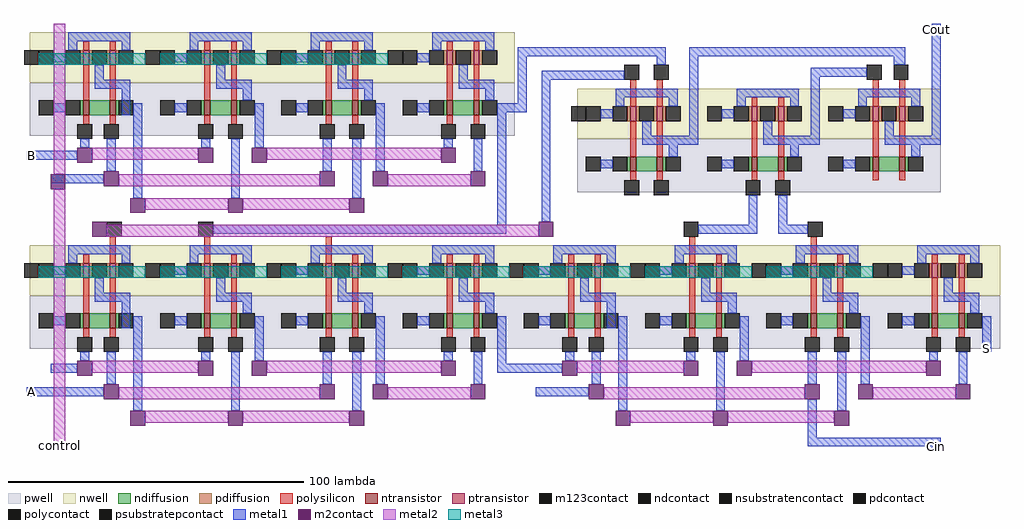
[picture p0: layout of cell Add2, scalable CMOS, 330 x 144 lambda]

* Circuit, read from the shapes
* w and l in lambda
.subckt Add2 A B Cin Cout GND! S Vdd! control
M1 n1 XOR2_0/a GND! GND! nfet w=5 l=2
M2 n2 B GND! GND! nfet w=5 l=2
M3 XOR2_0/NAND2_1/b A n1 GND! nfet w=5 l=2
M4 XOR2_2/NAND2_1/b control n2 GND! nfet w=5 l=2
M5 n3 XOR2_0/a GND! GND! nfet w=5 l=2
M6 n4 B GND! GND! nfet w=5 l=2
M7 XOR2_0/NAND2_3/a XOR2_0/NAND2_1/b n3 GND! nfet w=5 l=2
M8 XOR2_2/NAND2_3/a XOR2_2/NAND2_1/b n4 GND! nfet w=5 l=2
M9 n5 A GND! GND! nfet w=5 l=2
M10 n6 control GND! GND! nfet w=5 l=2
M11 XOR2_0/NAND2_3/b XOR2_0/NAND2_1/b n5 GND! nfet w=5 l=2
M12 XOR2_2/NAND2_3/b XOR2_2/NAND2_1/b n6 GND! nfet w=5 l=2
M13 n7 XOR2_0/NAND2_3/a GND! GND! nfet w=5 l=2
M14 n8 XOR2_2/NAND2_3/a GND! GND! nfet w=5 l=2
M15 NAND2_1/a XOR2_0/NAND2_3/b n7 GND! nfet w=5 l=2
M16 XOR2_0/a XOR2_2/NAND2_3/b n8 GND! nfet w=5 l=2
M17 n9 NAND2_1/a GND! GND! nfet w=5 l=2
M18 XOR2_1/NAND2_1/b Cin n9 GND! nfet w=5 l=2
M19 n10 A GND! GND! nfet w=5 l=2
M20 NAND2_2/b XOR2_0/a n10 GND! nfet w=5 l=2
M21 n11 NAND2_1/a GND! GND! nfet w=5 l=2
M22 XOR2_1/NAND2_3/a XOR2_1/NAND2_1/b n11 GND! nfet w=5 l=2
M23 n12 NAND2_1/a GND! GND! nfet w=5 l=2
M24 NAND2_2/a Cin n12 GND! nfet w=5 l=2
M25 n13 Cin GND! GND! nfet w=5 l=2
M26 XOR2_1/NAND2_3/b XOR2_1/NAND2_1/b n13 GND! nfet w=5 l=2
M27 n14 NAND2_2/a GND! GND! nfet w=5 l=2
M28 Cout NAND2_2/b n14 GND! nfet w=5 l=2
M29 n15 XOR2_1/NAND2_3/a GND! GND! nfet w=5 l=2
M30 S XOR2_1/NAND2_3/b n15 GND! nfet w=5 l=2
M31 XOR2_0/NAND2_1/b XOR2_0/a Vdd! Vdd! pfet w=5 l=2
M32 XOR2_2/NAND2_1/b B Vdd! Vdd! pfet w=5 l=2
M33 Vdd! A XOR2_0/NAND2_1/b Vdd! pfet w=5 l=2
M34 Vdd! control XOR2_2/NAND2_1/b Vdd! pfet w=5 l=2
M35 XOR2_0/NAND2_3/a XOR2_0/a Vdd! Vdd! pfet w=5 l=2
M36 XOR2_2/NAND2_3/a B Vdd! Vdd! pfet w=5 l=2
M37 Vdd! XOR2_0/NAND2_1/b XOR2_0/NAND2_3/a Vdd! pfet w=5 l=2
M38 Vdd! XOR2_2/NAND2_1/b XOR2_2/NAND2_3/a Vdd! pfet w=5 l=2
M39 XOR2_0/NAND2_3/b A Vdd! Vdd! pfet w=5 l=2
M40 XOR2_2/NAND2_3/b control Vdd! Vdd! pfet w=5 l=2
M41 Vdd! XOR2_0/NAND2_1/b XOR2_0/NAND2_3/b Vdd! pfet w=5 l=2
M42 Vdd! XOR2_2/NAND2_1/b XOR2_2/NAND2_3/b Vdd! pfet w=5 l=2
M43 NAND2_1/a XOR2_0/NAND2_3/a Vdd! Vdd! pfet w=5 l=2
M44 XOR2_0/a XOR2_2/NAND2_3/a Vdd! Vdd! pfet w=5 l=2
M45 Vdd! XOR2_0/NAND2_3/b NAND2_1/a Vdd! pfet w=5 l=2
M46 Vdd! XOR2_2/NAND2_3/b XOR2_0/a Vdd! pfet w=5 l=2
M47 XOR2_1/NAND2_1/b NAND2_1/a Vdd! Vdd! pfet w=5 l=2
M48 Vdd! Cin XOR2_1/NAND2_1/b Vdd! pfet w=5 l=2
M49 NAND2_2/b A Vdd! Vdd! pfet w=5 l=2
M50 Vdd! XOR2_0/a NAND2_2/b Vdd! pfet w=5 l=2
M51 XOR2_1/NAND2_3/a NAND2_1/a Vdd! Vdd! pfet w=5 l=2
M52 Vdd! XOR2_1/NAND2_1/b XOR2_1/NAND2_3/a Vdd! pfet w=5 l=2
M53 NAND2_2/a NAND2_1/a Vdd! Vdd! pfet w=5 l=2
M54 Vdd! Cin NAND2_2/a Vdd! pfet w=5 l=2
M55 XOR2_1/NAND2_3/b Cin Vdd! Vdd! pfet w=5 l=2
M56 Vdd! XOR2_1/NAND2_1/b XOR2_1/NAND2_3/b Vdd! pfet w=5 l=2
M57 Cout NAND2_2/a Vdd! Vdd! pfet w=5 l=2
M58 Vdd! NAND2_2/b Cout Vdd! pfet w=5 l=2
M59 S XOR2_1/NAND2_3/a Vdd! Vdd! pfet w=5 l=2
M60 Vdd! XOR2_1/NAND2_3/b S Vdd! pfet w=5 l=2
.ends

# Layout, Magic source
magic
tech scmos
<< polysilicon >>
rect 203 109 205 117
rect 212 109 214 117
rect 285 109 287 117
rect 294 109 296 117
rect 27 56 29 64
rect 59 56 61 64
rect 100 56 102 64
rect 223 55 225 64
rect 264 56 266 64
<< polycontact >>
rect 201 117 206 122
rect 211 117 216 122
rect 283 117 288 122
rect 292 117 297 122
rect 201 78 206 83
rect 211 78 216 83
rect 242 78 247 83
rect 252 78 257 83
rect 26 64 31 69
rect 57 64 62 69
rect 221 64 226 69
rect 263 64 268 69
<< metal1 >>
rect 165 125 215 128
rect 165 109 168 125
rect 212 122 215 125
rect 223 125 296 128
rect 158 106 168 109
rect 173 117 201 120
rect -1 90 10 93
rect 158 68 161 99
rect 173 69 176 117
rect 223 98 226 125
rect 292 122 296 125
rect 264 118 283 121
rect 264 98 267 118
rect 305 98 308 136
rect 216 95 226 98
rect 257 95 267 98
rect 298 95 308 98
rect 62 65 161 68
rect 243 68 246 78
rect 226 65 246 68
rect 253 68 256 78
rect 253 65 263 68
rect 158 21 161 28
rect 322 25 325 27
rect 158 18 174 21
rect -1 10 15 13
rect 263 -4 266 9
rect 263 -7 308 -4
rect 305 -8 308 -7
<< m2contact >>
rect 7 80 12 85
rect 21 64 26 69
rect 172 64 177 69
<< metal2 >>
rect 8 85 12 136
rect 8 -8 12 80
rect 26 64 172 68
<< m123contact >>
rect -2 122 3 127
rect 39 122 44 127
rect 80 122 85 127
rect 121 122 126 127
rect 183 103 188 108
rect -2 50 3 55
rect 39 50 44 55
rect 80 50 85 55
rect 121 50 126 55
rect 162 50 167 55
rect 203 50 208 55
rect 244 50 249 55
rect 285 50 290 55
<< metal3 >>
rect 3 122 39 126
rect 44 122 80 126
rect 85 122 121 126
rect 3 50 39 54
rect 44 50 80 54
rect 85 50 121 54
rect 126 50 162 54
rect 167 50 203 54
rect 208 50 244 54
rect 249 50 285 54
use NAND2  NAND2_0
transform 1 0 197 0 1 86
box -12 -7 29 28
use NAND2  NAND2_1
transform 1 0 238 0 1 86
box -12 -7 29 28
use NAND2  NAND2_2
transform 1 0 279 0 1 86
box -12 -7 29 28
use XOR2  XOR2_0
transform 1 0 0 0 1 26
box 0 -26 164 35
use XOR2  XOR2_1
transform 1 0 164 0 1 26
box 0 -26 164 35
use XOR2  XOR2_2
transform 1 0 0 0 1 98
box 0 -26 164 35
<< labels >>
rlabel metal2 8 -8 12 -5 1 control
rlabel metal1 -1 90 2 93 3 B
rlabel metal1 -1 10 2 13 3 A
rlabel metal1 305 -8 308 -6 1 Cin
rlabel metal1 305 133 308 135 5 Cout
rlabel metal1 322 25 325 27 7 S
<< end >>

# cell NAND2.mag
magic
tech scmos
<< nwell >>
rect -12 11 29 28
<< pwell >>
rect -12 -7 29 11
<< ntransistor >>
rect 6 0 8 5
rect 15 0 17 5
<< ptransistor >>
rect 6 17 8 22
rect 15 17 17 22
<< ndiffusion >>
rect 5 0 6 5
rect 8 0 15 5
rect 17 0 18 5
<< pdiffusion >>
rect 5 17 6 22
rect 8 17 9 22
rect 14 17 15 22
rect 17 17 18 22
<< ndcontact >>
rect 0 0 5 5
rect 18 0 23 5
<< pdcontact >>
rect 0 17 5 22
rect 9 17 14 22
rect 18 17 23 22
<< psubstratepcontact >>
rect -9 0 -4 5
<< nsubstratencontact >>
rect -9 17 -4 22
<< polysilicon >>
rect 6 22 8 25
rect 15 22 17 25
rect 6 5 8 17
rect 15 5 17 17
rect 6 -3 8 0
rect 15 -3 17 0
<< metal1 >>
rect 1 25 22 28
rect 1 22 4 25
rect 19 22 22 25
rect -4 18 0 21
rect 10 12 13 17
rect 10 9 22 12
rect 19 5 22 9
rect -4 1 0 4
<< labels >>
rlabel metal1 -3 2 -2 3 1 GND!
rlabel metal1 -3 19 -2 20 1 Vdd!
rlabel polysilicon 6 -3 7 -2 1 a
rlabel polysilicon 15 -3 16 -2 1 b
rlabel metal1 21 8 22 9 1 o
<< end >>

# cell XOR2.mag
magic
tech scmos
<< polycontact >>
rect 16 -1 21 4
rect 25 -1 30 4
rect 57 -1 62 4
rect 67 -1 72 4
rect 98 -1 103 4
rect 108 -1 113 4
rect 139 -1 144 4
rect 149 -1 154 4
<< metal1 >>
rect 31 7 34 15
rect 17 -4 20 -1
rect 7 -8 16 -5
rect 26 -12 29 -1
rect 7 -16 25 -13
rect 35 -21 38 11
rect 58 -4 61 -1
rect 68 -21 71 -1
rect 76 -4 79 11
rect 99 -12 102 -1
rect 109 -21 112 -1
rect 117 -12 120 11
rect 158 -1 161 11
rect 140 -4 143 -1
rect 150 -12 153 -1
<< m2contact >>
rect 16 -9 21 -4
rect 25 -17 30 -12
rect 57 -9 62 -4
rect 75 -9 80 -4
rect 98 -17 103 -12
rect 139 -9 144 -4
rect 116 -17 121 -12
rect 149 -17 154 -12
rect 34 -26 39 -21
rect 67 -26 72 -21
rect 108 -26 113 -21
<< metal2 >>
rect 21 -8 57 -4
rect 80 -8 139 -4
rect 30 -17 98 -13
rect 121 -17 149 -13
rect 39 -25 67 -21
rect 72 -25 108 -21
use NAND2  NAND2_0
transform 1 0 12 0 1 7
box -12 -7 29 28
use NAND2  NAND2_1
transform 1 0 53 0 1 7
box -12 -7 29 28
use NAND2  NAND2_2
transform 1 0 94 0 1 7
box -12 -7 29 28
use NAND2  NAND2_3
transform 1 0 135 0 1 7
box -12 -7 29 28
<< labels >>
rlabel metal1 7 -7 8 -6 1 a
rlabel metal1 7 -15 8 -14 1 b
rlabel metal1 159 -1 160 0 7 o
<< end >>
